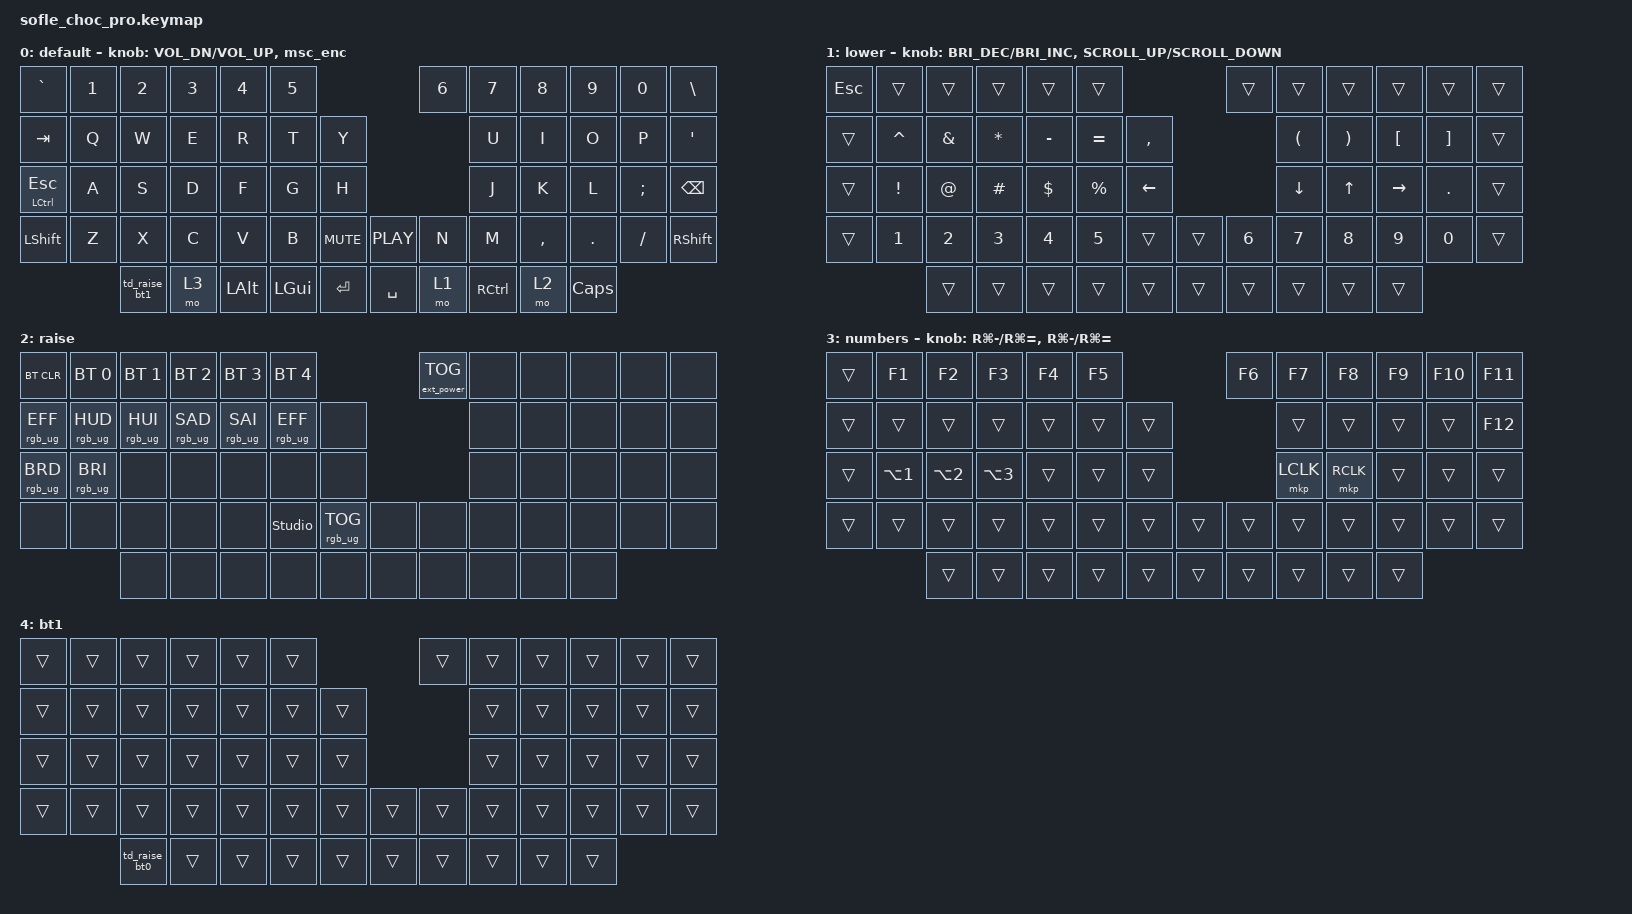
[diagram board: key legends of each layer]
/*
* Copyright (c) 2020 The ZMK Contributors
*
* SPDX-License-Identifier: MIT
*/

#include <behaviors.dtsi>
#include <dt-bindings/zmk/bt.h>
#include <dt-bindings/zmk/ext_power.h>
#include <dt-bindings/zmk/keys.h>
#include <dt-bindings/zmk/pointing.h>
#include <dt-bindings/zmk/rgb.h>

#define BASE 0
#define LOWER 1
#define RAISE 2
#define ADJUST 3
#define BT_ALT 4

/ {
    // Activate ADJUST layer by pressing raise and lower

    conditional_layers { compatible = "zmk,conditional-layers"; };

    // Sensor-rotate behavior wrapping &msc for the right encoder.
    // sensor-bindings entries need a behavior taking TWO params (one per
    // rotation direction) — that's why &inc_dec_kp works for &kp. &msc takes
    // only one arg, and ZMK doesn't ship an inc_dec_msc helper, so we declare
    // our own sensor-rotate behavior here.
    // Requires CONFIG_ZMK_POINTING=y in sofle_choc_pro.conf.

    behaviors {
        msc_enc: behavior_sensor_rotate_msc {
            compatible = "zmk,behavior-sensor-rotate";
            #sensor-binding-cells = <0>;
            bindings = <&msc SCRL_UP>, <&msc SCRL_DOWN>;

            // &msc emits scroll ticks at a rate while held; the default
            // sensor-rotate tap is too short to produce one tick per detent.

            tap-ms = <30>;
        };

        // Bottom left key of the left half: hold for the raise layer, double tap to
        // switch between Bluetooth profile 0 and 1.
        // ZMK has no "toggle between two profiles" action, so the BT_ALT
        // layer remembers which profile is active: layer off means profile 0,
        // layer on means profile 1. Each double tap selects the other profile
        // and flips the layer.

        td_raise_bt1: tap_dance_raise_bt1 {
            compatible = "zmk,behavior-tap-dance";
            #binding-cells = <0>;
            tapping-term-ms = <200>;
            bindings = <&mo RAISE>, <&bt_to_1>;
        };

        td_raise_bt0: tap_dance_raise_bt0 {
            compatible = "zmk,behavior-tap-dance";
            #binding-cells = <0>;
            tapping-term-ms = <200>;
            bindings = <&mo RAISE>, <&bt_to_0>;
        };
    };

    macros {
        bt_to_1: bt_to_1 {
            compatible = "zmk,behavior-macro";
            #binding-cells = <0>;
            bindings = <&bt BT_SEL 1>, <&tog BT_ALT>;
        };

        bt_to_0: bt_to_0 {
            compatible = "zmk,behavior-macro";
            #binding-cells = <0>;
            bindings = <&bt BT_SEL 0>, <&tog BT_ALT>;
        };
    };

    keymap {
        compatible = "zmk,keymap";

        default_layer {
            display-name = "default";

            // ------------------------------------------------------------------------------------------------------------
            // |   `   |  1  |  2  |  3   |  4   |  5   |                   |  6   |  7    |  8    |  9   |   0   |   `   |
            // |  ESC  |  Q  |  W  |  E   |  R   |  T   |                   |  Y   |  U    |  I    |  O   |   P   | BKSPC |
            // |  TAB  |  A  |  S  |  D   |  F   |  G   |                   |  H   |  J    |  K    |  L   |   ;   |   '   |
            // | SHIFT |  Z  |  X  |  C   |  V   |  B   |  MUTE  |  | PLAY  |  N   |  M    |  ,    |  .   |   /   | SHIFT |
            //               | GUI | ALT  | CTRL | LOWER|  ENTER |  | SPACE | RAISE| CTRL  | ALT   | GUI  |

            bindings = <
&kp GRAVE         &kp N1  &kp N2        &kp N3  &kp N4        &kp N5                                &kp N6  &kp N7             &kp N8     &kp N9         &kp N0    &kp BACKSLASH
&kp TAB           &kp Q   &kp W         &kp E   &kp R         &kp T         &kp Y                           &kp U              &kp I      &kp O          &kp P     &kp SINGLE_QUOTE
&mt LCTRL ESCAPE  &kp A   &kp S         &kp D   &kp F         &kp G         &kp H                           &kp J              &kp K      &kp L          &kp SEMI  &kp BACKSPACE
&kp LSHFT         &kp Z   &kp X         &kp C   &kp V         &kp B         &kp C_MUTE  &kp C_PLAY  &kp N   &kp M              &kp COMMA  &kp DOT        &kp FSLH  &kp RSHFT
                          &td_raise_bt1  &mo 3  &kp LEFT_ALT  &kp LEFT_GUI  &kp RET     &kp SPACE   &mo 1   &kp RIGHT_CONTROL  &mo 2      &kp CAPSLOCK
            >;

            sensor-bindings = <&inc_dec_kp C_VOL_DN C_VOL_UP>, <&msc_enc>;
        };

        lower {
            display-name = "lower";

            // ------------------------------------------------------------------------------------------------------------
            // |       |  F1 |  F2 |  F3  |  F4  |  F5  |                   |  F6  |  F7   |  F8   |  F9  |  F10  |  F11  |
            // |   `   |  1  |  2  |  3   |  4   |  5   |                   |  6   |  7    |  8    |  9   |   0   |  F12  |
            // |       |  !  |  @  |  #   |  $   |  %   |                   |  ^   |  &    |  *    |  (   |   )   |   |   |
            // |       |  =  |  -  |  +   |  {   |  }   |        |  |       |  [   |  ]    |  ;    |  :   |   \   |       |
            //               |     |      |      |      |        |  |       |      |       |       |      |

            bindings = <
&kp ESCAPE  &trans           &trans         &trans        &trans        &trans                                &trans        &trans                &trans                 &trans            &trans             &trans
&trans      &kp CARET        &kp AMPERSAND  &kp ASTERISK  &kp MINUS     &kp EQUAL     &kp COMMA                             &kp LEFT_PARENTHESIS  &kp RIGHT_PARENTHESIS  &kp LEFT_BRACKET  &kp RIGHT_BRACKET  &trans
&trans      &kp EXCLAMATION  &kp AT_SIGN    &kp HASH      &kp DOLLAR    &kp PERCENT   &kp LEFT_ARROW                        &kp DOWN_ARROW        &kp UP_ARROW           &kp RIGHT_ARROW   &kp PERIOD         &trans
&trans      &kp NUMBER_1     &kp NUMBER_2   &kp NUMBER_3  &kp NUMBER_4  &kp NUMBER_5  &trans          &trans  &kp NUMBER_6  &kp NUMBER_7          &kp NUMBER_8           &kp NUMBER_9      &kp NUMBER_0       &trans
                             &trans         &trans        &trans        &trans        &trans          &trans  &trans        &trans                &trans                 &trans
            >;

            sensor-bindings =
                <&inc_dec_kp C_BRIGHTNESS_DEC C_BRIGHTNESS_INC>,
                <&inc_dec_kp K_SCROLL_UP K_SCROLL_DOWN>;
        };

        raise {
            // ----------------------------------------------------------------------------------------------------------------------------
            // | BTCLR  |  BT1    |  BT2    |   BT3   |   BT4   |   BT5   |                  |      |      |       |      |       |       |
            // | EXTPWR | RGB_HUD | RGB_HUI | RGB_SAD | RGB_SAI | RGB_EFF |                  |      |      |       |      |       |       |
            // |        | RGB_BRD | RGB_BRI |         |         |         |                  |      |      |       |      |       |       |
            // |        |         |         |         |         |         | RGB_TOG | |      |      |      |       |      |       |       |
            //                    |         |         |         |         |         | |      |      |      |       |      |

            display-name = "raise";
            bindings = <
&bt BT_CLR       &bt BT_SEL 0     &bt BT_SEL 1     &bt BT_SEL 2     &bt BT_SEL 3     &bt BT_SEL 4                             &ext_power EP_TOG  &none  &none  &none  &none  &none
&rgb_ug RGB_EFF  &rgb_ug RGB_HUD  &rgb_ug RGB_HUI  &rgb_ug RGB_SAD  &rgb_ug RGB_SAI  &rgb_ug RGB_EFF  &none                                      &none  &none  &none  &none  &none
&rgb_ug RGB_BRD  &rgb_ug RGB_BRI  &none            &none            &none            &none            &none                                      &none  &none  &none  &none  &none
&none            &none            &none            &none            &none            &studio_unlock   &rgb_ug RGB_TOG  &none  &none              &none  &none  &none  &none  &none
                                  &none            &none            &none            &none            &none            &none  &none              &none  &none  &none
            >;
        };

        numbers {
            bindings = <
&trans  &kp F1            &kp F2            &kp F3            &kp F4  &kp F5                  &kp F6  &kp F7     &kp F8     &kp F9  &kp F10  &kp F11
&trans  &trans            &trans            &trans            &trans  &trans  &trans                  &trans     &trans     &trans  &trans   &kp F12
&trans  &kp LA(NUMBER_1)  &kp LA(NUMBER_2)  &kp LA(NUMBER_3)  &trans  &trans  &trans                  &mkp LCLK  &mkp RCLK  &trans  &trans   &trans
&trans  &trans            &trans            &trans            &trans  &trans  &trans  &trans  &trans  &trans     &trans     &trans  &trans   &trans
                          &trans            &trans            &trans  &trans  &trans  &trans  &trans  &trans     &trans     &trans
            >;

            label = "numbers";
            sensor-bindings =
                <&inc_dec_kp RG(MINUS) RG(EQUAL)>,
                <&inc_dec_kp RG(MINUS) RG(EQUAL)>;
        };

        // On while Bluetooth profile 1 is selected. Only the bottom left key
        // of the left half differs, so the next double tap goes back to profile 0.

        bt_alt {
            display-name = "bt1";
            bindings = <
&trans  &trans  &trans  &trans  &trans  &trans                  &trans  &trans  &trans  &trans  &trans  &trans
&trans  &trans  &trans  &trans  &trans  &trans  &trans                  &trans  &trans  &trans  &trans  &trans
&trans  &trans  &trans  &trans  &trans  &trans  &trans                  &trans  &trans  &trans  &trans  &trans
&trans  &trans  &trans  &trans  &trans  &trans  &trans  &trans  &trans  &trans  &trans  &trans  &trans  &trans
                &td_raise_bt0  &trans  &trans  &trans  &trans  &trans  &trans  &trans  &trans  &trans
            >;
        };
    };
};
